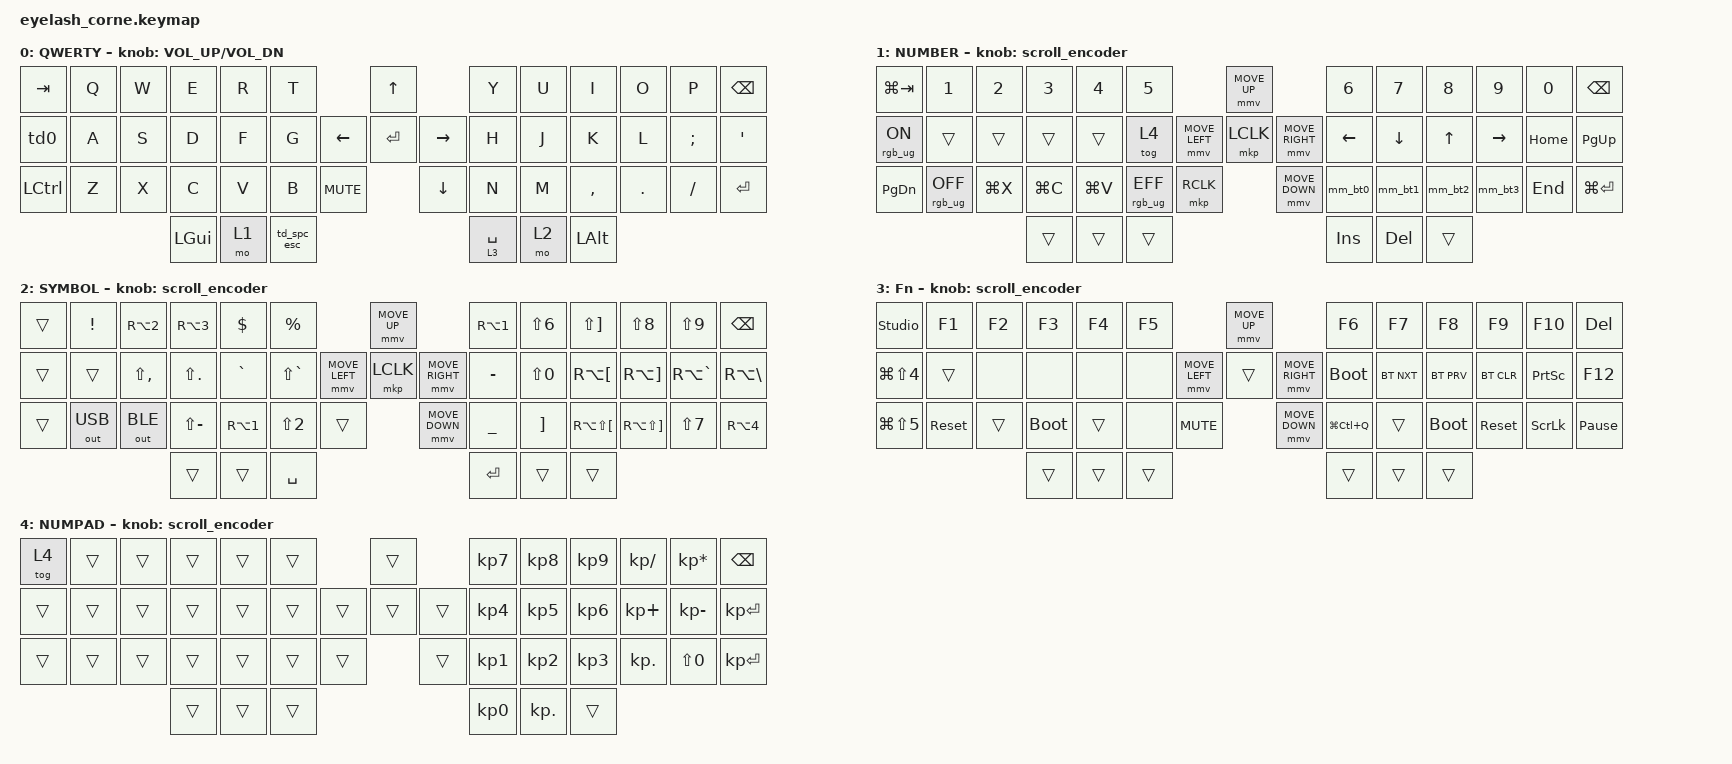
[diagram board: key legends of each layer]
#define ZMK_POINTING_DEFAULT_MOVE_VAL 1200  // 600
#define ZMK_POINTING_DEFAULT_SCRL_VAL 25   // 10

#include <input/processors.dtsi>
#include <zephyr/dt-bindings/input/input-event-codes.h>
#include <behaviors.dtsi>
#include <dt-bindings/zmk/bt.h>
#include <dt-bindings/zmk/keys.h>
#include <dt-bindings/zmk/outputs.h>
#include <dt-bindings/zmk/pointing.h>
#include <dt-bindings/zmk/rgb.h>

&mmv_input_listener { input-processors = <&zip_xy_scaler 2 1>; };

&msc_input_listener { input-processors = <&zip_scroll_scaler 2 1>; };

&msc {
    acceleration-exponent = <1>;      // 0
    time-to-max-speed-ms = <100>;       // 300
    delay-ms = <0>;                   // 0
};

&mmv {
    time-to-max-speed-ms = <500>;
    acceleration-exponent = <1>;
    trigger-period-ms = <16>;
};

&soft_off { hold-time-ms = <2000>; };

&lt {
    tapping-term-ms = <280>;
    quick-tap-ms = <175>;
};

/ {
    macros {
        bt_sel0: bt_sel0 {
            compatible = "zmk,behavior-macro";
            #binding-cells = <0>;
            bindings = <&bt BT_SEL 0 &rgb_ug RGB_COLOR_HSB(240,100,50)>;
        };
        bt_sel1: bt_sel1 {
            compatible = "zmk,behavior-macro";
            #binding-cells = <0>;
            bindings = <&bt BT_SEL 1 &rgb_ug RGB_COLOR_HSB(120,100,45)>;
        };
        bt_sel2: bt_sel2 {
            compatible = "zmk,behavior-macro";
            #binding-cells = <0>;
            bindings = <&bt BT_SEL 2 &rgb_ug RGB_COLOR_HSB(25,100,50)>;
        };
        bt_sel3: bt_sel3 {
            compatible = "zmk,behavior-macro";
            #binding-cells = <0>;
            bindings = <&bt BT_SEL 3 &rgb_ug RGB_COLOR_HSB(280,100,50)>;
        };
        bt_clr0: bt_clr0 {
            compatible = "zmk,behavior-macro";
            #binding-cells = <0>;
            bindings = <&bt BT_SEL 0 &bt BT_CLR>;
        };
        bt_clr1: bt_clr1 {
            compatible = "zmk,behavior-macro";
            #binding-cells = <0>;
            bindings = <&bt BT_SEL 1 &bt BT_CLR>;
        };
        bt_clr2: bt_clr2 {
            compatible = "zmk,behavior-macro";
            #binding-cells = <0>;
            bindings = <&bt BT_SEL 2 &bt BT_CLR>;
        };
        bt_clr3: bt_clr3 {
            compatible = "zmk,behavior-macro";
            #binding-cells = <0>;
            bindings = <&bt BT_SEL 3 &bt BT_CLR>;
        };
    };

    behaviors {
        td0: td0 {
            compatible = "zmk,behavior-tap-dance";
            display-name = "Shift/Caps Lock Tap Dance";
            #binding-cells = <0>;
            bindings = <&kp LEFT_SHIFT>, <&kp CAPS>;
        };

        td_spc_esc: td_spc_esc {
            compatible = "zmk,behavior-tap-dance";
            #binding-cells = <0>;
            tapping-term-ms = <200>;
            bindings = <&lt 3 SPACE>, <&kp ESC>;
        };

        mm_bt0: mm_bt0 {
            compatible = "zmk,behavior-mod-morph";
            #binding-cells = <0>;
            bindings = <&bt_sel0>, <&bt_clr0>;
            mods = <(MOD_LSFT|MOD_RSFT)>;
        };
        mm_bt1: mm_bt1 {
            compatible = "zmk,behavior-mod-morph";
            #binding-cells = <0>;
            bindings = <&bt_sel1>, <&bt_clr1>;
            mods = <(MOD_LSFT|MOD_RSFT)>;
        };
        mm_bt2: mm_bt2 {
            compatible = "zmk,behavior-mod-morph";
            #binding-cells = <0>;
            bindings = <&bt_sel2>, <&bt_clr2>;
            mods = <(MOD_LSFT|MOD_RSFT)>;
        };
        mm_bt3: mm_bt3 {
            compatible = "zmk,behavior-mod-morph";
            #binding-cells = <0>;
            bindings = <&bt_sel3>, <&bt_clr3>;
            mods = <(MOD_LSFT|MOD_RSFT)>;
        };
    };

    rgb_encoder: rgb_encoder {
        compatible = "zmk,behavior-sensor-rotate";
        #sensor-binding-cells = <0>;
        bindings = <&rgb_ug RGB_BRI>, <&rgb_ug RGB_BRD>;
    };

    scroll_encoder: scroll_encoder {
        compatible = "zmk,behavior-sensor-rotate";
        #sensor-binding-cells = <0>;
        bindings = <&msc SCRL_DOWN>, <&msc SCRL_UP>;

        tap-ms = <100>;
    };

    combos {
        compatible = "zmk,combos";

        softoff {
            bindings = <&soft_off>;
            key-positions = <1 15 29>;
        };

        bt_clr_all {
            bindings = <&bt BT_CLR_ALL>;
            key-positions = <28 32 37>;
            layers = <3>;
            timeout-ms = <50>;
        };

    };

    keymap {
        compatible = "zmk,keymap";

        default_layer {
            display-name = "QWERTY";
            bindings = <
&kp TAB    &kp Q  &kp W  &kp E      &kp R  &kp T                                 &kp UP                         &kp Y        &kp U  &kp I      &kp O    &kp P     &kp BSPC
&td0       &kp A  &kp S  &kp D      &kp F  &kp G               &kp LEFT        &kp ENTER  &kp RIGHT              &kp H        &kp J  &kp K      &kp L    &kp SEMI     &kp SQT
&kp LCTRL  &kp Z  &kp X  &kp C      &kp V  &kp B  &kp C_MUTE                  &kp DOWN                          &kp N        &kp M  &kp COMMA  &kp DOT  &kp FSLH  &kp ENTER
                          &kp LGUI        &mo 1  &td_spc_esc                                                          &lt 3 SPACE  &mo 2  &kp LALT
            >;

            sensor-bindings = <&inc_dec_kp C_VOLUME_UP C_VOL_DN>;
        };

        lower_layer {
            display-name = "NUMBER";
            bindings = <
&kp LG(TAB)  &kp N1           &kp N2          &kp N3        &kp N4        &kp N5                                      &mmv MOVE_UP                  &kp N6           &kp N7           &kp N8           &kp N9           &kp N0    &kp BSPC
&rgb_ug RGB_ON  &trans           &trans          &trans        &trans        &tog 4                    &mmv MOVE_LEFT  &mkp LCLK       &mmv MOVE_RIGHT &kp LEFT         &kp DOWN         &kp UP           &kp RIGHT        &kp HOME  &kp PG_UP
&kp PG_DN      &rgb_ug RGB_OFF  &kp LG(X)       &kp LG(C)     &kp LG(V)     &rgb_ug RGB_EFF  &mkp RCLK               &mmv MOVE_DOWN                  &mm_bt0          &mm_bt1          &mm_bt2          &mm_bt3          &kp END   &kp LG(ENTER)
                                         &trans        &trans        &trans                                                                    &kp INS          &kp DEL          &trans
            >;

            sensor-bindings = <&scroll_encoder>;
        };

        raise_layer {
            display-name = "SYMBOL";
            bindings = <
&trans  &kp EXCL      &kp RA(N2)    &kp RA(N3)  &kp DLLR   &kp PRCNT                           &mmv MOVE_UP                     &kp RA(N1)  &kp LS(N6)    &kp LS(RBKT)      &kp LS(N8)        &kp LS(N9)        &kp BSPC
&trans  &trans        &kp LS(COMMA) &kp LS(DOT) &kp GRAVE   &kp LS(GRAVE)  &mmv MOVE_LEFT  &mkp LCLK       &mmv MOVE_RIGHT  &kp MINUS   &kp LS(N0)    &kp RA(LBKT)      &kp RA(RBKT)      &kp RA(GRAVE)     &kp RA(BSLH)
&trans  &out OUT_USB  &out OUT_BLE  &kp LS(MINUS) &kp RA(N1) &kp LS(N2) &trans                    &mmv MOVE_DOWN                   &kp UNDER   &kp RBKT      &kp RA(LS(LBKT))  &kp RA(LS(RBKT))  &kp LS(N7)        &kp RA(N4)
                                    &trans     &trans     &kp SPACE                                                             &kp RET    &trans     &trans
            >;

            sensor-bindings = <&scroll_encoder>;
        };

        layer_3 {
            display-name = "Fn";
            bindings = <
&studio_unlock  &kp F1      &kp F2     &kp F3       &kp F4     &kp F5                                  &mmv MOVE_UP                     &kp F6       &kp F7     &kp F8       &kp F9      &kp F10          &kp DEL
&kp LG(LS(N4))  &trans      &none      &none        &none      &none                   &mmv MOVE_LEFT  &trans          &mmv MOVE_RIGHT  &bootloader  &bt BT_NXT  &bt BT_PRV  &bt BT_CLR  &kp PRINTSCREEN  &kp F12
&kp LG(LS(N5))  &sys_reset  &trans     &bootloader  &trans     &none     &kp C_MUTE                    &mmv MOVE_DOWN                   &kp LG(LC(Q))  &trans     &bootloader  &sys_reset  &kp SCROLLLOCK   &kp PAUSE_BREAK
                                       &trans       &trans     &trans                                                                   &trans       &trans     &trans
            >;

            sensor-bindings = <&scroll_encoder>;
        };

        numpad_layer {
            display-name = "NUMPAD";
            bindings = <
&tog 4  &trans  &trans  &trans  &trans  &trans                                  &trans                    &kp KP_N7  &kp KP_N8  &kp KP_N9  &kp KP_DIVIDE    &kp KP_MULTIPLY  &kp BSPC
&trans  &trans  &trans  &trans  &trans  &trans          &trans  &trans  &trans                             &kp KP_N4  &kp KP_N5  &kp KP_N6  &kp KP_PLUS      &kp KP_MINUS     &kp KP_ENTER
&trans  &trans  &trans  &trans  &trans  &trans  &trans                    &trans                           &kp KP_N1  &kp KP_N2  &kp KP_N3  &kp KP_DOT       &kp LS(N0)       &kp KP_ENTER
                                &trans  &trans  &trans                                                      &kp KP_N0  &kp KP_DOT &trans
            >;

            sensor-bindings = <&scroll_encoder>;
        };
    };
};
